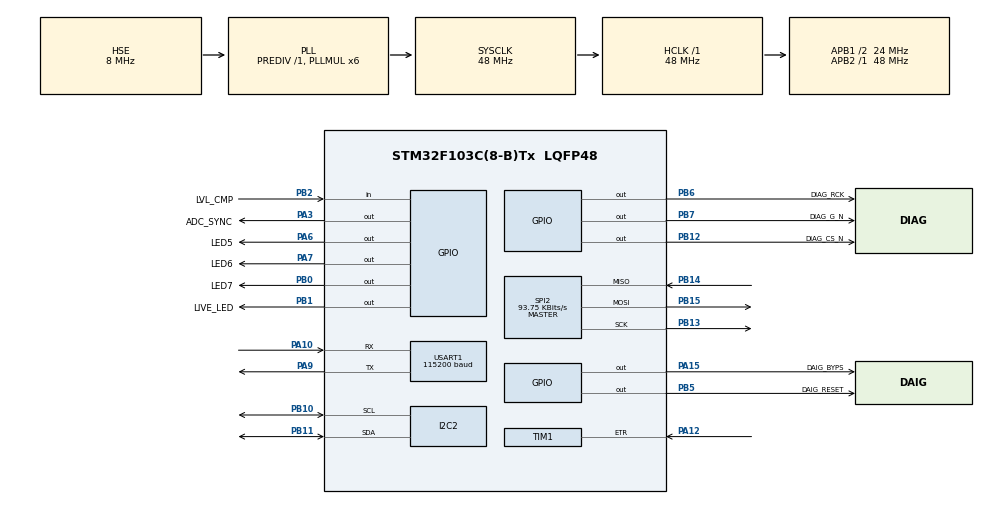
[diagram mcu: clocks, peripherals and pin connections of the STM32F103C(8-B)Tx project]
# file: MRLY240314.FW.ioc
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Dma.Request0=USART1_RX
Dma.USART1_RX.0.Direction=DMA_PERIPH_TO_MEMORY
Dma.USART1_RX.0.Instance=DMA1_Channel5
Dma.USART1_RX.0.MemDataAlignment=DMA_MDATAALIGN_BYTE
Dma.USART1_RX.0.MemInc=DMA_MINC_ENABLE
Dma.USART1_RX.0.Mode=DMA_NORMAL
Dma.USART1_RX.0.PeriphDataAlignment=DMA_PDATAALIGN_BYTE
Dma.USART1_RX.0.PeriphInc=DMA_PINC_DISABLE
Dma.USART1_RX.0.Priority=DMA_PRIORITY_MEDIUM
Mcu.Family=STM32F1
Mcu.Name=STM32F103C(8-B)Tx
Mcu.Package=LQFP48
NVIC.DMA1_Channel5_IRQn=true\:0\:0\:false\:false\:true\:false\:true\:true
NVIC.PriorityGroup=NVIC_PRIORITYGROUP_4
NVIC.TIM1_UP_IRQn=true\:0\:0\:false\:false\:true\:true\:true\:true
NVIC.TIM2_IRQn=true\:0\:0\:false\:false\:true\:true\:true\:true
PA10.Mode=Asynchronous
PA10.Signal=USART1_RX
PA12.Signal=S_TIM1_ETR
PA13.Mode=Trace_Asynchronous_SW
PA13.Signal=SYS_JTMS-SWDIO
PA14.Mode=Trace_Asynchronous_SW
PA14.Signal=SYS_JTCK-SWCLK
PA15.GPIO_Label=DAIG_BYPS
PA15.Signal=GPIO_Output
PA3.GPIO_Label=ADC_SYNC
PA3.Signal=GPIO_Output
PA6.GPIO_Label=LED5
PA6.PinState=GPIO_PIN_SET
PA6.Signal=GPIO_Output
PA7.GPIO_Label=LED6
PA7.PinState=GPIO_PIN_SET
PA7.Signal=GPIO_Output
PA9.Mode=Asynchronous
PA9.Signal=USART1_TX
PB0.GPIO_Label=LED7
PB0.PinState=GPIO_PIN_SET
PB0.Signal=GPIO_Output
PB1.GPIO_Label=LIVE_LED
PB1.GPIO_ModeDefaultOutputPP=GPIO_MODE_OUTPUT_OD
PB1.GPIO_PuPd=GPIO_NOPULL
PB1.Signal=GPIO_Output
PB10.Mode=I2C
PB10.Signal=I2C2_SCL
PB11.Mode=I2C
PB11.Signal=I2C2_SDA
PB12.GPIO_Label=DIAG_CS_N
PB12.PinState=GPIO_PIN_SET
PB12.Signal=GPIO_Output
PB13.Mode=Full_Duplex_Master
PB13.Signal=SPI2_SCK
PB14.GPIO_PuPd=GPIO_NOPULL
PB14.Mode=Full_Duplex_Master
PB14.Signal=SPI2_MISO
PB15.Mode=Full_Duplex_Master
PB15.Signal=SPI2_MOSI
PB2.GPIO_Label=LVL_CMP
PB2.Signal=GPIO_Input
PB3.Mode=Trace_Asynchronous_SW
PB3.Signal=SYS_JTDO-TRACESWO
PB5.GPIO_Label=DAIG_RESET
PB5.Signal=GPIO_Output
PB6.GPIO_Label=DIAG_RCK
PB6.Signal=GPIO_Output
PB7.GPIO_Label=DIAG_G_N
PB7.PinState=GPIO_PIN_SET
PB7.Signal=GPIO_Output
PD0-OSC_IN.Mode=HSE-External-Oscillator
PD0-OSC_IN.Signal=RCC_OSC_IN
PD1-OSC_OUT.Mode=HSE-External-Oscillator
PD1-OSC_OUT.Signal=RCC_OSC_OUT
ProjectManager.HeapSize=0x200
ProjectManager.StackSize=0x400
ProjectManager.TargetToolchain=STM32CubeIDE
RCC.AHBFreq_Value=48000000
RCC.APB1CLKDivider=RCC_HCLK_DIV2
RCC.APB1Freq_Value=24000000
RCC.APB1TimFreq_Value=48000000
RCC.APB2Freq_Value=48000000
RCC.APB2TimFreq_Value=48000000
RCC.HCLKFreq_Value=48000000
RCC.PLLMUL=RCC_PLL_MUL6
RCC.PLLSourceVirtual=RCC_PLLSOURCE_HSE
RCC.SYSCLKFreq_VALUE=48000000
RCC.SYSCLKSource=RCC_SYSCLKSOURCE_PLLCLK
RCC.USBFreq_Value=48000000
SH.S_TIM1_ETR.0=TIM1_ETR,ClockSourceETR_Mode2
SPI2.BaudRatePrescaler=SPI_BAUDRATEPRESCALER_256
SPI2.CalculateBaudRate=93.75 KBits/s
SPI2.Direction=SPI_DIRECTION_2LINES
SPI2.FirstBit=SPI_FIRSTBIT_MSB
SPI2.Mode=SPI_MODE_MASTER
SPI2.VirtualType=VM_MASTER
TIM2.Period=53400
USART1.BaudRate=115200
USART1.VirtualMode=VM_ASYNC
VP_TIM2_VS_ClockSourceINT.Mode=Internal
board=custom

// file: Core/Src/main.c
/* USER CODE BEGIN Header */
/**
  ******************************************************************************
  * @file           : main.c
  * @brief          : Main program body
  ******************************************************************************
  * @attention
  *
  * Copyright (c) 2022 STMicroelectronics.
  * All rights reserved.
  *
  * This software is licensed under terms that can be found in the LICENSE file
  * in the root directory of this software component.
  * If no LICENSE file comes with this software, it is provided AS-IS.
  *
  ******************************************************************************
  */
/* USER CODE END Header */
#include "main.h"

/* USER CODE BEGIN Includes */
#include "LiveLed.h"
#include "vt100.h"
#include "display.h"
#include <stdio.h>
#include "string.h"
#include "mcp3421.h"

/* USER CODE END Includes */

I2C_HandleTypeDef hi2c2;

SPI_HandleTypeDef hspi2;

TIM_HandleTypeDef htim1;
TIM_HandleTypeDef htim2;

UART_HandleTypeDef huart1;
DMA_HandleTypeDef hdma_usart1_rx;

/* USER CODE BEGIN PV */
LiveLED_HnadleTypeDef hLiveLed;
Device_t Device;

/* USER CODE END PV */

void SystemClock_Config(void);
static void MX_GPIO_Init(void);
static void MX_DMA_Init(void);
static void MX_TIM1_Init(void);
static void MX_TIM2_Init(void);
static void MX_USART1_UART_Init(void);
static void MX_I2C2_Init(void);
static void MX_SPI2_Init(void);
/* USER CODE BEGIN PFP */

// --- LiveLed ---
void LiveLedOff(void);
void LiveLedOn(void);

// ---Tools ---
void UpTimeTask(void);

// --- LEDs ---
void Led5On(void);
void Led5Off(void);
void Led6On(void);
void Led6Off(void);
void Led7On(void);
void Led7Off(void);

/* USER CODE END PFP */

int main(void)
{

  /* MCU Configuration--------------------------------------------------------*/

  /* Reset of all peripherals, Initializes the Flash interface and the Systick. */
  HAL_Init();

  /* Configure the system clock */
  SystemClock_Config();

  /* Initialize all configured peripherals */
  MX_GPIO_Init();
  MX_DMA_Init();
  MX_TIM1_Init();
  MX_TIM2_Init();
  MX_USART1_UART_Init();
  MX_I2C2_Init();
  MX_SPI2_Init();
  /* USER CODE BEGIN 2 */

  printf(VT100_CLEARSCREEN);
  printf(VT100_CURSORHOME);
  printf(VT100_ATTR_RESET);

  HAL_Delay(1000); //Wait for FPGA

  // --- LEDs ---
  Led5Off();
  Led6Off();
  Led7Off();

  // --- LiveLed ---
  hLiveLed.LedOffFnPtr = &LiveLedOff;
  hLiveLed.LedOnFnPtr = &LiveLedOn;
  hLiveLed.HalfPeriodTimeMs = 500;
  LiveLedInit(&hLiveLed);

  // --- Display ---
  DisplayInit(&hi2c2, SSD1306_I2C_DEV_ADDRESS);

  DisplayClear();
  DisplayUpdate();
                   //0123456789012345
  DisplaySetCursor(0, 0);
  DisplayDrawString("   HELLO WORLD   ", &GfxFont7x8, SSD1306_WHITE );

  DisplaySetCursor(0, 16);
  DisplayDrawString(DEVICE_FW, &GfxFont7x8, SSD1306_WHITE );

  DisplaySetCursor(0, 24);
  DisplayDrawString(DEVICE_NAME, &GfxFont7x8, SSD1306_WHITE );
  DisplayUpdate();

  //--- Communication ---
  UartCom_Init(&huart1, &hdma_usart1_rx);

  // --- TPIC Relay drivers ---
  TPICs_Init(&hspi2);
  TPICs_FpgaBypassOn();

  DisplayClear();
  DisplayUpdate();

  if(TPICs_ChainCheckIsPassed() == false)
  {
    DisplaySetCursor(0, 0);
    DisplayDrawString("Chain: FAILED ", &GfxFont7x8, SSD1306_WHITE );
    DisplayUpdate();
    Led5Off();
  }
  else
  {
    DisplaySetCursor(0, 0);
    DisplayDrawString("Chain: PASSED ", &GfxFont7x8, SSD1306_WHITE );
    DisplayUpdate();
    Led5On();
  }
  HAL_Delay(2000);

  // --- FPGA ---
  FPGA_Init(&hspi2);

  TPICs_FpgaBypassOff();

  // --- ADC ---
  MCP3421_Init(&hi2c2, MCP3421_I2C_DEVICE_ADDRESS);
  MCP3421_NonBlocking_Start(MCP3421_RES_14 | MCP3421_PGA_1x);

  /* USER CODE END 2 */

  /* Infinite loop */
  /* USER CODE BEGIN WHILE */
  while (1)
  {
    static uint32_t timestamp;
    LiveLedTask(&hLiveLed);
    char string[50];

    if(HAL_GetTick() - timestamp > 10)
    {
      timestamp = HAL_GetTick();

      DisplayClear();

      DisplaySetCursor(1, 0);
      sprintf(string, "UT:%lu BU:%lu", Device.Diag.UpTimeSec, Device.Diag.BootupCnt);
      DisplayDrawString(string, &GfxFont7x8, SSD1306_WHITE );

      double lsb = 2 * (2.048 / 16384);
      int32_t adc = MCP3421_NonBlocking_GetVale();
      Device.Measured.Volts = lsb * adc;
      Device.Measured.Ohms =  Device.Measured.Volts / 0.0057;
      timestamp = HAL_GetTick();

      DisplaySetCursor(1, 8);
      sprintf(string,"Volts:%0.5f", Device.Measured.Volts);
      DisplayDrawString(string, &GfxFont7x8, SSD1306_WHITE );

      DisplaySetCursor(1, 16);
      sprintf(string,"R:%0.2fOHM", Device.Measured.Ohms);
      DisplayDrawString(string, &GfxFont7x8, SSD1306_WHITE );

      DisplayUpdate();

    }

    LiveLedTask(&hLiveLed);
    UpTimeTask();
    UartCom_Task();

    /* USER CODE END WHILE */

  }
}

void SystemClock_Config(void)
{
  RCC_OscInitTypeDef RCC_OscInitStruct = {0};
  RCC_ClkInitTypeDef RCC_ClkInitStruct = {0};

  /** Initializes the RCC Oscillators according to the specified parameters
  * in the RCC_OscInitTypeDef structure.
  */
  RCC_OscInitStruct.OscillatorType = RCC_OSCILLATORTYPE_HSE;
  RCC_OscInitStruct.HSEState = RCC_HSE_ON;
  RCC_OscInitStruct.HSEPredivValue = RCC_HSE_PREDIV_DIV1;
  RCC_OscInitStruct.HSIState = RCC_HSI_ON;
  RCC_OscInitStruct.PLL.PLLState = RCC_PLL_ON;
  RCC_OscInitStruct.PLL.PLLSource = RCC_PLLSOURCE_HSE;
  RCC_OscInitStruct.PLL.PLLMUL = RCC_PLL_MUL6;
  if (HAL_RCC_OscConfig(&RCC_OscInitStruct) != HAL_OK)
  {
    Error_Handler();
  }

  /** Initializes the CPU, AHB and APB buses clocks
  */
  RCC_ClkInitStruct.ClockType = RCC_CLOCKTYPE_HCLK|RCC_CLOCKTYPE_SYSCLK
                              |RCC_CLOCKTYPE_PCLK1|RCC_CLOCKTYPE_PCLK2;
  RCC_ClkInitStruct.SYSCLKSource = RCC_SYSCLKSOURCE_PLLCLK;
  RCC_ClkInitStruct.AHBCLKDivider = RCC_SYSCLK_DIV1;
  RCC_ClkInitStruct.APB1CLKDivider = RCC_HCLK_DIV2;
  RCC_ClkInitStruct.APB2CLKDivider = RCC_HCLK_DIV1;

  if (HAL_RCC_ClockConfig(&RCC_ClkInitStruct, FLASH_LATENCY_1) != HAL_OK)
  {
    Error_Handler();
  }
}

static void MX_I2C2_Init(void)
{

  hi2c2.Instance = I2C2;
  hi2c2.Init.ClockSpeed = 100000;
  hi2c2.Init.DutyCycle = I2C_DUTYCYCLE_2;
  hi2c2.Init.OwnAddress1 = 0;
  hi2c2.Init.AddressingMode = I2C_ADDRESSINGMODE_7BIT;
  hi2c2.Init.DualAddressMode = I2C_DUALADDRESS_DISABLE;
  hi2c2.Init.OwnAddress2 = 0;
  hi2c2.Init.GeneralCallMode = I2C_GENERALCALL_DISABLE;
  hi2c2.Init.NoStretchMode = I2C_NOSTRETCH_DISABLE;
  if (HAL_I2C_Init(&hi2c2) != HAL_OK)
  {
    Error_Handler();
  }

}

static void MX_SPI2_Init(void)
{

  /* SPI2 parameter configuration*/
  hspi2.Instance = SPI2;
  hspi2.Init.Mode = SPI_MODE_MASTER;
  hspi2.Init.Direction = SPI_DIRECTION_2LINES;
  hspi2.Init.DataSize = SPI_DATASIZE_8BIT;
  hspi2.Init.CLKPolarity = SPI_POLARITY_LOW;
  hspi2.Init.CLKPhase = SPI_PHASE_1EDGE;
  hspi2.Init.NSS = SPI_NSS_SOFT;
  hspi2.Init.BaudRatePrescaler = SPI_BAUDRATEPRESCALER_256;
  hspi2.Init.FirstBit = SPI_FIRSTBIT_MSB;
  hspi2.Init.TIMode = SPI_TIMODE_DISABLE;
  hspi2.Init.CRCCalculation = SPI_CRCCALCULATION_DISABLE;
  hspi2.Init.CRCPolynomial = 10;
  if (HAL_SPI_Init(&hspi2) != HAL_OK)
  {
    Error_Handler();
  }

}

static void MX_TIM1_Init(void)
{

  TIM_ClockConfigTypeDef sClockSourceConfig = {0};
  TIM_MasterConfigTypeDef sMasterConfig = {0};

  htim1.Instance = TIM1;
  htim1.Init.Prescaler = 0;
  htim1.Init.CounterMode = TIM_COUNTERMODE_UP;
  htim1.Init.Period = 65535;
  htim1.Init.ClockDivision = TIM_CLOCKDIVISION_DIV1;
  htim1.Init.RepetitionCounter = 0;
  htim1.Init.AutoReloadPreload = TIM_AUTORELOAD_PRELOAD_DISABLE;
  if (HAL_TIM_Base_Init(&htim1) != HAL_OK)
  {
    Error_Handler();
  }
  sClockSourceConfig.ClockSource = TIM_CLOCKSOURCE_ETRMODE2;
  sClockSourceConfig.ClockPolarity = TIM_CLOCKPOLARITY_NONINVERTED;
  sClockSourceConfig.ClockPrescaler = TIM_CLOCKPRESCALER_DIV1;
  sClockSourceConfig.ClockFilter = 0;
  if (HAL_TIM_ConfigClockSource(&htim1, &sClockSourceConfig) != HAL_OK)
  {
    Error_Handler();
  }
  sMasterConfig.MasterOutputTrigger = TIM_TRGO_RESET;
  sMasterConfig.MasterSlaveMode = TIM_MASTERSLAVEMODE_DISABLE;
  if (HAL_TIMEx_MasterConfigSynchronization(&htim1, &sMasterConfig) != HAL_OK)
  {
    Error_Handler();
  }

}

static void MX_TIM2_Init(void)
{

  TIM_ClockConfigTypeDef sClockSourceConfig = {0};
  TIM_MasterConfigTypeDef sMasterConfig = {0};

  htim2.Instance = TIM2;
  htim2.Init.Prescaler = 0;
  htim2.Init.CounterMode = TIM_COUNTERMODE_UP;
  htim2.Init.Period = 53400;
  htim2.Init.ClockDivision = TIM_CLOCKDIVISION_DIV1;
  htim2.Init.AutoReloadPreload = TIM_AUTORELOAD_PRELOAD_DISABLE;
  if (HAL_TIM_Base_Init(&htim2) != HAL_OK)
  {
    Error_Handler();
  }
  sClockSourceConfig.ClockSource = TIM_CLOCKSOURCE_INTERNAL;
  if (HAL_TIM_ConfigClockSource(&htim2, &sClockSourceConfig) != HAL_OK)
  {
    Error_Handler();
  }
  sMasterConfig.MasterOutputTrigger = TIM_TRGO_RESET;
  sMasterConfig.MasterSlaveMode = TIM_MASTERSLAVEMODE_DISABLE;
  if (HAL_TIMEx_MasterConfigSynchronization(&htim2, &sMasterConfig) != HAL_OK)
  {
    Error_Handler();
  }

}

static void MX_USART1_UART_Init(void)
{

  huart1.Instance = USART1;
  huart1.Init.BaudRate = 115200;
  huart1.Init.WordLength = UART_WORDLENGTH_8B;
  huart1.Init.StopBits = UART_STOPBITS_1;
  huart1.Init.Parity = UART_PARITY_NONE;
  huart1.Init.Mode = UART_MODE_TX_RX;
  huart1.Init.HwFlowCtl = UART_HWCONTROL_NONE;
  huart1.Init.OverSampling = UART_OVERSAMPLING_16;
  if (HAL_UART_Init(&huart1) != HAL_OK)
  {
    Error_Handler();
  }

}

static void MX_DMA_Init(void)
{

  /* DMA controller clock enable */
  __HAL_RCC_DMA1_CLK_ENABLE();

  /* DMA interrupt init */
  /* DMA1_Channel5_IRQn interrupt configuration */
  HAL_NVIC_SetPriority(DMA1_Channel5_IRQn, 0, 0);
  HAL_NVIC_EnableIRQ(DMA1_Channel5_IRQn);

}

static void MX_GPIO_Init(void)
{
  GPIO_InitTypeDef GPIO_InitStruct = {0};

  /* GPIO Ports Clock Enable */
  __HAL_RCC_GPIOD_CLK_ENABLE();
  __HAL_RCC_GPIOA_CLK_ENABLE();
  __HAL_RCC_GPIOB_CLK_ENABLE();

  /*Configure GPIO pin Output Level */
  HAL_GPIO_WritePin(GPIOA, ADC_SYNC_Pin|DAIG_BYPS_Pin, GPIO_PIN_RESET);

  /*Configure GPIO pin Output Level */
  HAL_GPIO_WritePin(GPIOA, LED5_Pin|LED6_Pin, GPIO_PIN_SET);

  /*Configure GPIO pin Output Level */
  HAL_GPIO_WritePin(GPIOB, LED7_Pin|DIAG_CS_N_Pin|DIAG_G_N_Pin, GPIO_PIN_SET);

  /*Configure GPIO pin Output Level */
  HAL_GPIO_WritePin(GPIOB, LIVE_LED_Pin|DAIG_RESET_Pin|DIAG_RCK_Pin, GPIO_PIN_RESET);

  /*Configure GPIO pins : ADC_SYNC_Pin LED5_Pin LED6_Pin DAIG_BYPS_Pin */
  GPIO_InitStruct.Pin = ADC_SYNC_Pin|LED5_Pin|LED6_Pin|DAIG_BYPS_Pin;
  GPIO_InitStruct.Mode = GPIO_MODE_OUTPUT_PP;
  GPIO_InitStruct.Pull = GPIO_NOPULL;
  GPIO_InitStruct.Speed = GPIO_SPEED_FREQ_LOW;
  HAL_GPIO_Init(GPIOA, &GPIO_InitStruct);

  /*Configure GPIO pins : LED7_Pin DIAG_CS_N_Pin DAIG_RESET_Pin DIAG_RCK_Pin
                           DIAG_G_N_Pin */
  GPIO_InitStruct.Pin = LED7_Pin|DIAG_CS_N_Pin|DAIG_RESET_Pin|DIAG_RCK_Pin
                          |DIAG_G_N_Pin;
  GPIO_InitStruct.Mode = GPIO_MODE_OUTPUT_PP;
  GPIO_InitStruct.Pull = GPIO_NOPULL;
  GPIO_InitStruct.Speed = GPIO_SPEED_FREQ_LOW;
  HAL_GPIO_Init(GPIOB, &GPIO_InitStruct);

  /*Configure GPIO pin : LIVE_LED_Pin */
  GPIO_InitStruct.Pin = LIVE_LED_Pin;
  GPIO_InitStruct.Mode = GPIO_MODE_OUTPUT_OD;
  GPIO_InitStruct.Pull = GPIO_NOPULL;
  GPIO_InitStruct.Speed = GPIO_SPEED_FREQ_LOW;
  HAL_GPIO_Init(LIVE_LED_GPIO_Port, &GPIO_InitStruct);

  /*Configure GPIO pin : LVL_CMP_Pin */
  GPIO_InitStruct.Pin = LVL_CMP_Pin;
  GPIO_InitStruct.Mode = GPIO_MODE_INPUT;
  GPIO_InitStruct.Pull = GPIO_NOPULL;
  HAL_GPIO_Init(LVL_CMP_GPIO_Port, &GPIO_InitStruct);

}

/* USER CODE BEGIN 4 */

/* Tools----------------------------------------------------------------------*/
void UpTimeTask(void)
{
  static uint32_t timestamp;
  if(HAL_GetTick() - timestamp > 1000)
  {
    timestamp = HAL_GetTick();
    Device.Diag.UpTimeSec++;
  }
}
/* LEDs ---------------------------------------------------------------------*/
void LiveLedOn(void)
{
  HAL_GPIO_WritePin(LIVE_LED_GPIO_Port, LIVE_LED_Pin, GPIO_PIN_SET);
}

void LiveLedOff(void)
{
  HAL_GPIO_WritePin(LIVE_LED_GPIO_Port, LIVE_LED_Pin, GPIO_PIN_RESET);
}

void Led5On(void)
{
  HAL_GPIO_WritePin(LED5_GPIO_Port, LED5_Pin, GPIO_PIN_RESET);
}

void Led5Off(void)
{
  HAL_GPIO_WritePin(LED5_GPIO_Port, LED5_Pin, GPIO_PIN_SET);
}

void Led6On(void)
{
  HAL_GPIO_WritePin(LED6_GPIO_Port, LED6_Pin, GPIO_PIN_RESET);
}

void Led6Off(void)
{
  HAL_GPIO_WritePin(LED6_GPIO_Port, LED6_Pin, GPIO_PIN_SET);
}

void Led7On(void)
{
  HAL_GPIO_WritePin(LED7_GPIO_Port, LED7_Pin, GPIO_PIN_RESET);
}

void Led7Off(void)
{
  HAL_GPIO_WritePin(LED7_GPIO_Port, LED7_Pin, GPIO_PIN_SET);
}

/* printf --------------------------------------------------------------------*/
int _write(int file, char *ptr, int len)
{
  //HAL_UART_Transmit(&huart1, (uint8_t*)ptr, len, 100);
  int i=0;
  for(i=0 ; i<len ; i++)
    ITM_SendChar((*ptr++));
  return len;
}

/* USER CODE END 4 */

void Error_Handler(void)
{
  __disable_irq();
  while (1)
  {
  }
}
